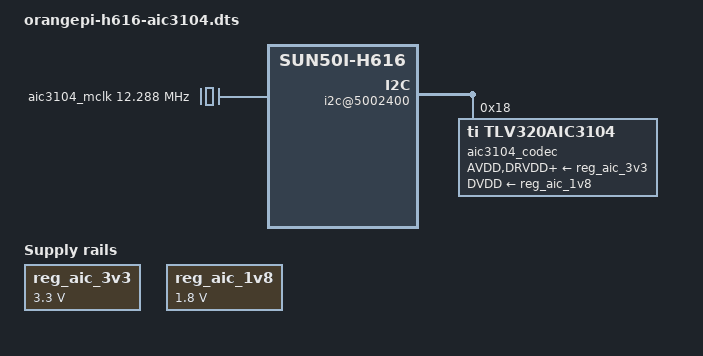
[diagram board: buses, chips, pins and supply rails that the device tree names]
/dts-v1/;
/plugin/;

/*
 * TLV320AIC3104 on Robot HAT — Orange Pi Zero 2W (H616/H618).
 *
 * Header I2S is I2S0 on PI0..PI4. That TDM belongs to ahub0
 * (apb_num=0, tdm_num=0, DMA 3). Stock DT only ships ahub1 for HDMI
 * (tdm_num=1) — binding the HAT codec there registers a card but
 * hw_params returns -EINVAL.
 *
 * This overlay:
 *   1) pinmuxes PI0..PI4 as i2s0
 *   2) adds ahub0_plat + ahub0_mach named "aic3104" → plughw:aic3104
 *   3) leaves ahub1 / HDMI alone
 *
 * use_overlays=apb2-300m aic3104-h616
 */

/ {
	compatible = "xunlong,orangepi-zero2w", "allwinner,sun50i-h618", "allwinner,sun50i-h616";

	fragment@0 {
		target-path = "/soc/pinctrl@300b000";
		__overlay__ {
			ahub_daudio0_pins_a: ahub-daudio0-clk {
				pins = "PI0", "PI1", "PI2";
				function = "i2s0";
				drive-strength = <0x14>;
				bias-disable;
			};
			ahub_daudio0_pins_b: ahub-daudio0-dout {
				pins = "PI3";
				function = "i2s0_dout0";
				drive-strength = <0x14>;
				bias-disable;
			};
			ahub_daudio0_pins_c: ahub-daudio0-din {
				pins = "PI4";
				function = "i2s0_din0";
				drive-strength = <0x14>;
				bias-disable;
			};
			ahub_daudio0_pins_d: ahub-daudio0-sleep {
				pins = "PI0", "PI1", "PI2", "PI3", "PI4";
				function = "gpio_in";
				drive-strength = <0x14>;
				bias-disable;
			};
		};
	};

	fragment@1 {
		target-path = "/";
		__overlay__ {
			reg_aic_3v3: regulator-aic-3v3 {
				compatible = "regulator-fixed";
				regulator-name = "aic3104-3v3";
				regulator-min-microvolt = <3300000>;
				regulator-max-microvolt = <3300000>;
				regulator-always-on;
			};
			reg_aic_1v8: regulator-aic-1v8 {
				compatible = "regulator-fixed";
				regulator-name = "aic3104-1v8";
				regulator-min-microvolt = <1800000>;
				regulator-max-microvolt = <1800000>;
				regulator-always-on;
			};
			/*
			 * Informational only for the codec clk framework.
			 * Real MCLK/sysclk comes from sunxi mclk-fs * rate
			 * (256 * 48000 = 12288000) via set_sysclk.
			 */
			aic3104_mclk: aic3104-mclk {
				compatible = "fixed-clock";
				#clock-cells = <0>;
				clock-frequency = <12288000>;
			};
		};
	};

	fragment@2 {
		target-path = "/soc/i2c@5002400";
		__overlay__ {
			#address-cells = <1>;
			#size-cells = <0>;

			aic3104_codec: codec@18 {
				/* Real part is TLV320AIC3104IRHBR; Mic2* mixer names match pin 16 MIC2R. */
				compatible = "ti,tlv320aic3104";
				reg = <0x18>;
				#sound-dai-cells = <0>;
				AVDD-supply = <&reg_aic_3v3>;
				DRVDD-supply = <&reg_aic_3v3>;
				IOVDD-supply = <&reg_aic_3v3>;
				DVDD-supply = <&reg_aic_1v8>;
				clocks = <&aic3104_mclk>;
				clock-names = "mclk";
				/* Analog MEMS on MIC2R usually needs MICBIAS (pin 15) through the
				 * series R network. 1 = 2.0 V (try before 2.5 V — 2 buzzed on this HAT). */
				ai3x-micbias-vg = <1>;
				status = "okay";
			};
		};
	};

	fragment@3 {
		target-path = "/soc";
		__overlay__ {
			ahub0_plat: ahub0_plat {
				#sound-dai-cells = <0>;
				compatible = "allwinner,sunxi-snd-plat-ahub";
				apb_num = <0>;
				dmas = <&dma 3>, <&dma 3>;
				dma-names = "tx", "rx";
				playback_cma = <128>;
				capture_cma = <128>;
				tx_fifo_size = <128>;
				rx_fifo_size = <128>;
				tdm_num = <0>;
				tx_pin = <0>;
				rx_pin = <0>;
				pinctrl-names = "default", "sleep";
				pinctrl-used;
				pinctrl-0 = <&ahub_daudio0_pins_a>,
					    <&ahub_daudio0_pins_b>,
					    <&ahub_daudio0_pins_c>;
				pinctrl-1 = <&ahub_daudio0_pins_d>;
				status = "okay";
			};

			ahub0_mach_aic: ahub0-mach-aic {
				compatible = "allwinner,sunxi-snd-mach";
				soundcard-mach,name = "aic3104";
				soundcard-mach,format = "i2s";
				soundcard-mach,frame-master = <&aic3104_cpu>;
				soundcard-mach,bitclock-master = <&aic3104_cpu>;
				soundcard-mach,slot-num = <2>;
				/* Keep 32: native capture is S32_LE; S16 via plughw misreads
				 * slots (DC hash). Use deploy/audio/asound-opi-aic3104.conf
				 * pcm.duckmix_cap to take the left S32 channel for BoBo. */
				soundcard-mach,slot-width = <32>;
				status = "okay";

				aic3104_cpu: soundcard-mach,cpu {
					sound-dai = <&ahub0_plat>;
					soundcard-mach,pll-fs = <4>;
					/* Must be non-zero: tlv320aic3x hw_params
					 * needs set_sysclk (MCLK = mclk-fs * rate)
					 * or PLL setup returns -EINVAL. */
					soundcard-mach,mclk-fs = <256>;
				};

				soundcard-mach,codec {
					sound-dai = <&aic3104_codec>;
				};
			};
		};
	};
};
